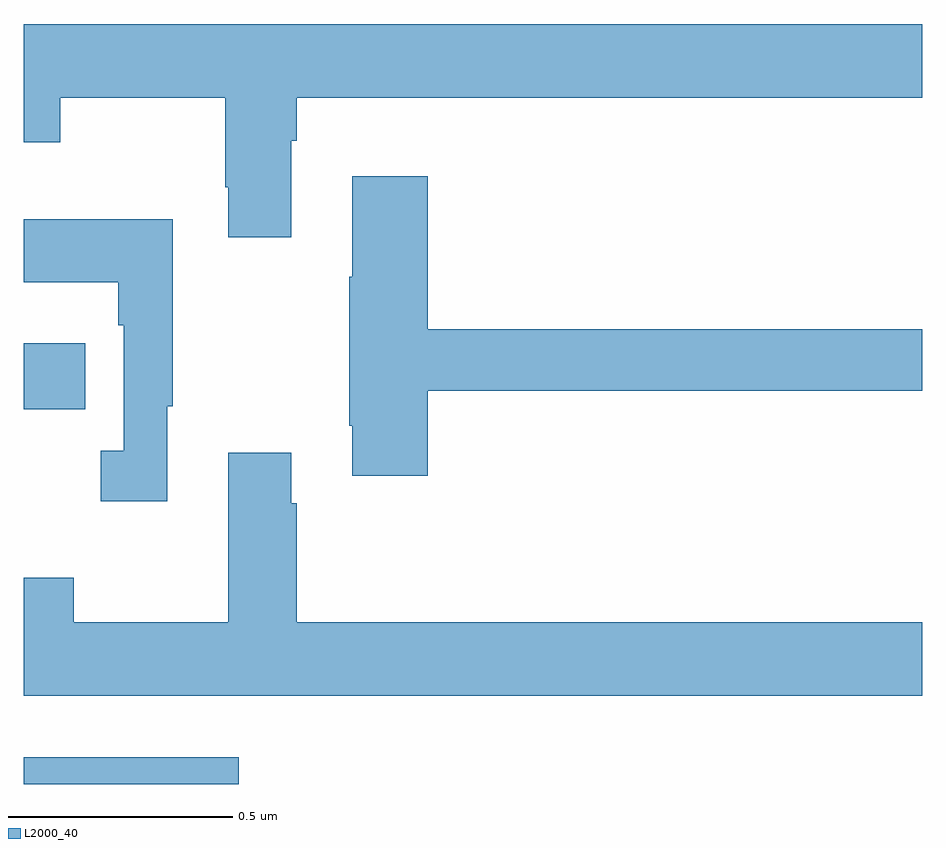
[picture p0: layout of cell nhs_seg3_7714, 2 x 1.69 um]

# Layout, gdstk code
import gdstk
lib = gdstk.Library(unit=1e-6, precision=1e-09)
def R(c, l, rs):  # rectangles x0, y0, x1, y1
    for r in rs: c.add(gdstk.rectangle(r[:2], r[2:], *l))
def P(c, l, *ps):  # polygons
    for p in ps: c.add(gdstk.Polygon(p, *l))
L2000_40 = (2000, 40)

nhs_seg3_7714 = lib.new_cell('nhs_seg3_7714')
R(nhs_seg3_7714, L2000_40, [(207,687.4,207.478,687.46), (207,688.234,207.137,688.381)])
P(nhs_seg3_7714, L2000_40, [(207.595,688.832),(207.608,688.832),(207.608,688.928),(209,688.928),(209,689.092),(207,689.092),(207,688.829),(207.081,688.829),(207.081,688.928),(207.448,688.928),(207.448,688.729),(207.455,688.729),(207.455,688.617),(207.595,688.617)],
  [(207.899,688.276),(209,688.276),(209,688.412),(207.899,688.412),(207.899,688.753),(207.731,688.753),(207.731,688.529),(207.724,688.529),(207.724,688.198),(207.731,688.198),(207.731,688.086),(207.899,688.086)],
  [(207.319,688.241),(207.331,688.241),(207.331,688.657),(207,688.657),(207,688.517),(207.21,688.517),(207.21,688.421),(207.222,688.421),(207.222,688.142),(207.171,688.142),(207.171,688.029),(207.319,688.029)],
  [(209,687.76),(207.608,687.76),(207.608,688.025),(207.595,688.025),(207.595,688.138),(207.455,688.138),(207.455,687.76),(207.111,687.76),(207.111,687.859),(207,687.859),(207,687.596),(209,687.596)])

lib.write_gds('nhs_seg3_7714.gds')
